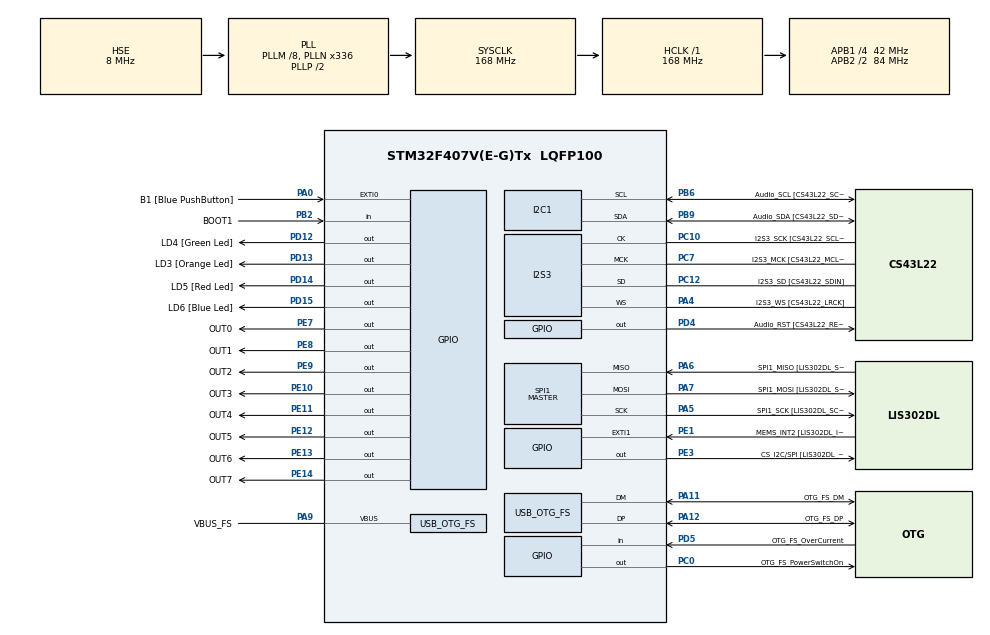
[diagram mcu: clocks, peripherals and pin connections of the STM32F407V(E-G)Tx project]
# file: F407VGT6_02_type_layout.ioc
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I2S3.AudioFreq-Half_Duplex_Master=I2S_AUDIOFREQ_96K
I2S3.ErrorAudioFreq=-2.34 %
I2S3.ErrorAudioFreq-Half_Duplex_Master=0.8 %
I2S3.FullDuplexMode=I2S_FULLDUPLEXMODE_DISABLE
I2S3.Instance=SPI$Index
I2S3.RealAudioFreq=93.75 KHz
I2S3.RealAudioFreq-Half_Duplex_Master=96.774 KHz
I2S3.VirtualMode=I2S_MODE_MASTER
Mcu.Family=STM32F4
Mcu.Name=STM32F407V(E-G)Tx
Mcu.Package=LQFP100
NVIC.OTG_FS_IRQn=true\:0\:0\:false\:false\:true\:true\:true\:true
NVIC.PriorityGroup=NVIC_PRIORITYGROUP_0
PA0-WKUP.GPIO_Label=B1 [Blue PushButton]
PA0-WKUP.GPIO_ModeDefaultEXTI=GPIO_MODE_EVT_RISING
PA0-WKUP.GPIO_PuPd=GPIO_NOPULL
PA0-WKUP.Signal=GPXTI0
PA10.GPIO_Label=OTG_FS_ID
PA10.GPIO_Mode=GPIO_MODE_AF_PP
PA10.GPIO_PuPd=GPIO_NOPULL
PA10.GPIO_Speed=GPIO_SPEED_FREQ_LOW
PA10.Signal=USB_OTG_FS_ID
PA11.GPIO_Label=OTG_FS_DM
PA11.GPIO_Mode=GPIO_MODE_AF_PP
PA11.GPIO_PuPd=GPIO_NOPULL
PA11.GPIO_Speed=GPIO_SPEED_FREQ_LOW
PA11.Mode=Host_Only
PA11.Signal=USB_OTG_FS_DM
PA12.GPIO_Label=OTG_FS_DP
PA12.GPIO_Mode=GPIO_MODE_AF_PP
PA12.GPIO_PuPd=GPIO_NOPULL
PA12.GPIO_Speed=GPIO_SPEED_FREQ_LOW
PA12.Mode=Host_Only
PA12.Signal=USB_OTG_FS_DP
PA13.GPIO_Label=SWDIO
PA13.Mode=Serial_Wire
PA13.Signal=SYS_JTMS-SWDIO
PA14.GPIO_Label=SWCLK
PA14.Mode=Serial_Wire
PA14.Signal=SYS_JTCK-SWCLK
PA4.GPIO_Label=I2S3_WS [CS43L22_LRCK]
PA4.GPIO_Mode=GPIO_MODE_AF_PP
PA4.GPIO_PuPd=GPIO_NOPULL
PA4.GPIO_Speed=GPIO_SPEED_FREQ_LOW
PA4.Mode=Half_Duplex_Master
PA4.Signal=I2S3_WS
PA5.GPIO_Label=SPI1_SCK [LIS302DL_SCL/SPC]
PA5.GPIO_Mode=GPIO_MODE_AF_PP
PA5.GPIO_PuPd=GPIO_NOPULL
PA5.GPIO_Speed=GPIO_SPEED_FREQ_LOW
PA5.Mode=Full_Duplex_Master
PA5.Signal=SPI1_SCK
PA6.GPIO_Label=SPI1_MISO [LIS302DL_SDO]
PA6.GPIO_Mode=GPIO_MODE_AF_PP
PA6.GPIO_PuPd=GPIO_NOPULL
PA6.GPIO_Speed=GPIO_SPEED_FREQ_LOW
PA6.Mode=Full_Duplex_Master
PA6.Signal=SPI1_MISO
PA7.GPIO_Label=SPI1_MOSI [LIS302DL_SDA/SDI/SDO]
PA7.GPIO_Mode=GPIO_MODE_AF_PP
PA7.GPIO_PuPd=GPIO_NOPULL
PA7.GPIO_Speed=GPIO_SPEED_FREQ_LOW
PA7.Mode=Full_Duplex_Master
PA7.Signal=SPI1_MOSI
PA9.GPIO_Label=VBUS_FS
PA9.GPIO_Mode=GPIO_MODE_INPUT
PA9.GPIO_PuPd=GPIO_NOPULL
PA9.Mode=Activate_VBUS
PA9.Signal=USB_OTG_FS_VBUS
PB10.GPIO_Label=CLK_IN [MP45DT02_CLK]
PB10.GPIO_Mode=GPIO_MODE_AF_PP
PB10.GPIO_PuPd=GPIO_NOPULL
PB10.GPIO_Speed=GPIO_SPEED_FREQ_LOW
PB10.Signal=I2S2_CK
PB2.GPIO_Label=BOOT1
PB2.GPIO_Mode=GPIO_MODE_INPUT
PB2.GPIO_PuPd=GPIO_NOPULL
PB2.Signal=GPIO_Input
PB3.GPIO_Label=SWO
PB3.Signal=SYS_JTDO-SWO
PB6.GPIO_Label=Audio_SCL [CS43L22_SCL]
PB6.GPIO_Mode=GPIO_MODE_AF_OD
PB6.GPIO_Pu=GPIO_PULLUP
PB6.GPIO_PuPd=GPIO_NOPULL
PB6.GPIO_Speed=GPIO_SPEED_FREQ_LOW
PB6.Mode=I2C
PB6.Signal=I2C1_SCL
PB9.GPIO_Label=Audio_SDA [CS43L22_SDA]
PB9.GPIO_Mode=GPIO_MODE_AF_OD
PB9.GPIO_Pu=GPIO_PULLUP
PB9.GPIO_PuPd=GPIO_NOPULL
PB9.GPIO_Speed=GPIO_SPEED_FREQ_LOW
PB9.Mode=I2C
PB9.Signal=I2C1_SDA
PC0.GPIO_Label=OTG_FS_PowerSwitchOn
PC0.GPIO_PuPd=GPIO_NOPULL
PC0.GPIO_Speed=GPIO_SPEED_FREQ_LOW
PC0.PinState=GPIO_PIN_SET
PC0.Signal=GPIO_Output
PC10.GPIO_Label=I2S3_SCK [CS43L22_SCLK]
PC10.GPIO_Mode=GPIO_MODE_AF_PP
PC10.GPIO_PuPd=GPIO_NOPULL
PC10.GPIO_Speed=GPIO_SPEED_FREQ_LOW
PC10.Mode=Half_Duplex_Master
PC10.Signal=I2S3_CK
PC12.GPIO_Label=I2S3_SD [CS43L22_SDIN]
PC12.GPIO_Mode=GPIO_MODE_AF_PP
PC12.GPIO_PuPd=GPIO_NOPULL
PC12.GPIO_Speed=GPIO_SPEED_FREQ_LOW
PC12.Mode=Half_Duplex_Master
PC12.Signal=I2S3_SD
PC14-OSC32_IN.GPIO_Label=PC14-OSC32_IN
PC14-OSC32_IN.Mode=LSE-External-Oscillator
PC14-OSC32_IN.Signal=RCC_OSC32_IN
PC15-OSC32_OUT.GPIO_Label=PC15-OSC32_OUT
PC15-OSC32_OUT.Mode=LSE-External-Oscillator
PC15-OSC32_OUT.Signal=RCC_OSC32_OUT
PC3.GPIO_Label=PDM_OUT [MP45DT02_DOUT]
PC3.GPIO_Mode=GPIO_MODE_AF_PP
PC3.GPIO_PuPd=GPIO_NOPULL
PC3.GPIO_Speed=GPIO_SPEED_FREQ_LOW
PC3.Signal=I2S2_SD
PC7.GPIO_Label=I2S3_MCK [CS43L22_MCLK]
PC7.GPIO_Mode=GPIO_MODE_AF_PP
PC7.GPIO_PuPd=GPIO_NOPULL
PC7.GPIO_Speed=GPIO_SPEED_FREQ_LOW
PC7.Mode=Master_Clock_Activated
PC7.Signal=I2S3_MCK
PD12.GPIO_Label=LD4 [Green Led]
PD12.GPIO_PuPd=GPIO_NOPULL
PD12.GPIO_Speed=GPIO_SPEED_FREQ_LOW
PD12.Signal=GPIO_Output
PD13.GPIO_Label=LD3 [Orange Led]
PD13.GPIO_PuPd=GPIO_NOPULL
PD13.GPIO_Speed=GPIO_SPEED_FREQ_LOW
PD13.Signal=GPIO_Output
PD14.GPIO_Label=LD5 [Red Led]
PD14.GPIO_PuPd=GPIO_NOPULL
PD14.GPIO_Speed=GPIO_SPEED_FREQ_LOW
PD14.Signal=GPIO_Output
PD15.GPIO_Label=LD6 [Blue Led]
PD15.GPIO_PuPd=GPIO_NOPULL
PD15.GPIO_Speed=GPIO_SPEED_FREQ_LOW
PD15.Signal=GPIO_Output
PD4.GPIO_Label=Audio_RST [CS43L22_RESET]
PD4.GPIO_PuPd=GPIO_NOPULL
PD4.GPIO_Speed=GPIO_SPEED_FREQ_LOW
PD4.Signal=GPIO_Output
PD5.GPIO_Label=OTG_FS_OverCurrent
PD5.GPIO_Mode=GPIO_MODE_INPUT
PD5.GPIO_PuPd=GPIO_NOPULL
PD5.Signal=GPIO_Input
PE1.GPIO_Label=MEMS_INT2 [LIS302DL_INT2]
PE1.GPIO_ModeDefaultEXTI=GPIO_MODE_EVT_RISING
PE1.GPIO_PuPd=GPIO_NOPULL
PE1.Signal=GPXTI1
PE10.GPIO_Label=OUT3
PE10.Signal=GPIO_Output
PE11.GPIO_Label=OUT4
PE11.Signal=GPIO_Output
PE12.GPIO_Label=OUT5
PE12.Signal=GPIO_Output
PE13.GPIO_Label=OUT6
PE13.Signal=GPIO_Output
PE14.GPIO_Label=OUT7
PE14.Signal=GPIO_Output
PE3.GPIO_Label=CS_I2C/SPI [LIS302DL_CS_I2C/SPI]
PE3.GPIO_PuPd=GPIO_NOPULL
PE3.GPIO_Speed=GPIO_SPEED_FREQ_LOW
PE3.Signal=GPIO_Output
PE7.GPIO_Label=OUT0
PE7.Signal=GPIO_Output
PE8.GPIO_Label=OUT1
PE8.Signal=GPIO_Output
PE9.GPIO_Label=OUT2
PE9.Signal=GPIO_Output
PH0-OSC_IN.GPIO_Label=PH0-OSC_IN
PH0-OSC_IN.Mode=HSE-External-Oscillator
PH0-OSC_IN.Signal=RCC_OSC_IN
PH1-OSC_OUT.GPIO_Label=PH1-OSC_OUT
PH1-OSC_OUT.Mode=HSE-External-Oscillator
PH1-OSC_OUT.Signal=RCC_OSC_OUT
ProjectManager.HeapSize=0x200
ProjectManager.StackSize=0x400
ProjectManager.TargetToolchain=STM32CubeIDE
RCC.48MHZClocksFreq_Value=48000000
RCC.AHBFreq_Value=168000000
RCC.APB1CLKDivider=RCC_HCLK_DIV4
RCC.APB1Freq_Value=42000000
RCC.APB1TimFreq_Value=84000000
RCC.APB2CLKDivider=RCC_HCLK_DIV2
RCC.APB2Freq_Value=84000000
RCC.APB2TimFreq_Value=168000000
RCC.CortexFreq_Value=168000000
RCC.HCLKFreq_Value=168000000
RCC.HSE_VALUE=8000000
RCC.HSI_VALUE=16000000
RCC.PLLM=8
RCC.PLLN=336
RCC.PLLQ=7
RCC.SYSCLKFreq_VALUE=168000000
RCC.SYSCLKSource=RCC_SYSCLKSOURCE_PLLCLK
RCC.VCOOutputFreq_Value=336000000
SPI1.BaudRatePrescaler-Full_Duplex_Master=SPI_BAUDRATEPRESCALER_2
SPI1.CalculateBaudRate-Full_Duplex_Master=42.0 MBits/s
SPI1.Direction=SPI_DIRECTION_2LINES
SPI1.Mode=SPI_MODE_MASTER
SPI1.Mode-Full_Duplex_Master=SPI_MODE_MASTER
SPI1.VirtualType=VM_MASTER
USB_HOST.BSP.number=1
USB_HOST.USBH_HandleTypeDef-CDC_FS=hUsbHostFS
USB_HOST.VirtualModeFS=Cdc
USB_HOST0.BSP.STBoard=false
USB_HOST0.BSP.api=Unknown
USB_HOST0.BSP.instance=PC0
USB_HOST0.BSP.ip=GPIO
USB_HOST0.BSP.mode=Output
USB_HOST0.BSP.name=Drive_VBUS_FS
USB_HOST0.BSP.solution=PC0
USB_OTG_FS.VirtualMode=Host_Only
USB_OTG_FS.phy_itface=HCD_PHY_EMBEDDED
VP_USB_HOST_VS_USB_HOST_CDC_FS.Mode=CDC_FS
board=STM32F407G-DISC1

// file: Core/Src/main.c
/* USER CODE BEGIN Header */
/**
  ******************************************************************************
  * @file           : main.c
  * @brief          : Main program body
  ******************************************************************************
  * @attention
  *
  * Copyright (c) 2025 STMicroelectronics.
  * All rights reserved.
  *
  * This software is licensed under terms that can be found in the LICENSE file
  * in the root directory of this software component.
  * If no LICENSE file comes with this software, it is provided AS-IS.
  *
  ******************************************************************************
  */
/* USER CODE END Header */
#include "main.h"
#include "usb_host.h"

I2C_HandleTypeDef hi2c1;

I2S_HandleTypeDef hi2s3;

SPI_HandleTypeDef hspi1;

void SystemClock_Config(void);
static void MX_GPIO_Init(void);
static void MX_I2C1_Init(void);
static void MX_I2S3_Init(void);
static void MX_SPI1_Init(void);
void MX_USB_HOST_Process(void);

/* USER CODE BEGIN PFP */

void print_number(uint8_t value);

/* USER CODE END PFP */

int main(void)
{

  /* MCU Configuration--------------------------------------------------------*/

  /* Reset of all peripherals, Initializes the Flash interface and the Systick. */
  HAL_Init();

  /* Configure the system clock */
  SystemClock_Config();

  /* Initialize all configured peripherals */
  MX_GPIO_Init();
  MX_I2C1_Init();
  MX_I2S3_Init();
  MX_SPI1_Init();
  MX_USB_HOST_Init();
  /* USER CODE BEGIN 2 */

  uint8_t result;

  result = 0b01010101;
//  result = 0b10101010;
//  result = 127;
//  result = 254;
//  result = 'h';	// a.k.a. 104

  // Implementation-specific data type, for avr-gcc is a 'long unsigned int'
//  size_t result;

  // 1 byte
//  result = sizeof(char);
//  result = sizeof(unsigned char);
//  result = sizeof(signed char);

  // 4 bytes
//  result = sizeof(int);
//  result = sizeof(unsigned int);
//  result = sizeof(signed int);

  // 4 bytes
//  result = sizeof(long int);
//  result = sizeof(long unsigned int);
//  result = sizeof(long signed int);

  // 8 bytes
//  result = sizeof(long long int);
//  result = sizeof(long long unsigned int);
//  result = sizeof(long long signed int);

  // 2 bytes
//  result = sizeof(short int);
//  result = sizeof(short unsigned int);
//  result = sizeof(short signed int);

  // 4 bytes
//  result = sizeof(float);

  // 8 bytes
//  result = sizeof(double);
//  result = sizeof(long double);

  // 1 byte
//  result = sizeof(void);

  // 4 bytes
//  result = sizeof(char *);
//  result = sizeof(int *);
//  result = sizeof(long *);
//  result = sizeof(long long *);
//  result = sizeof(float *);
//  result = sizeof(double *);
//  result = sizeof(void *);
//  result = sizeof(GPIO_TypeDef*);

  // 1 byte
//  result = sizeof(uint8_t);
//  result = sizeof(int8_t);

  // 2 bytes
//  result = sizeof(uint16_t);
//  result = sizeof(int16_t);

  // 4 bytes
//  result = sizeof(uint32_t);
//  result = sizeof(int32_t);

  // 8 bytes
//  result = sizeof(uint64_t);
//  result = sizeof(int64_t);

  // 4 bytes
//  enum EState{STATE1, STATE2, STATE3};
//  result = sizeof(STATE1);

  // 40 bytes
//  result = sizeof(GPIO_TypeDef);

//  result = sizeof(0xFF);                  // 4 bytes
//  result = sizeof(0xffFF);                // 4 bytes
//  result = sizeof(0xFFffFF);              // 4 bytes
//  result = sizeof(0xFFffFFffFFffFF);      // 8 bytes
//  result = sizeof(0xAAbbCCeeDDffAAbbCC);  // 8 bytes (WARNING)

  print_number(result);

  /* USER CODE END 2 */

  /* Infinite loop */
  while (1)
  {
    MX_USB_HOST_Process();

  }
}

void SystemClock_Config(void)
{
  RCC_OscInitTypeDef RCC_OscInitStruct = {0};
  RCC_ClkInitTypeDef RCC_ClkInitStruct = {0};

  /** Configure the main internal regulator output voltage
  */
  __HAL_RCC_PWR_CLK_ENABLE();
  __HAL_PWR_VOLTAGESCALING_CONFIG(PWR_REGULATOR_VOLTAGE_SCALE1);

  /** Initializes the RCC Oscillators according to the specified parameters
  * in the RCC_OscInitTypeDef structure.
  */
  RCC_OscInitStruct.OscillatorType = RCC_OSCILLATORTYPE_HSE;
  RCC_OscInitStruct.HSEState = RCC_HSE_ON;
  RCC_OscInitStruct.PLL.PLLState = RCC_PLL_ON;
  RCC_OscInitStruct.PLL.PLLSource = RCC_PLLSOURCE_HSE;
  RCC_OscInitStruct.PLL.PLLM = 8;
  RCC_OscInitStruct.PLL.PLLN = 336;
  RCC_OscInitStruct.PLL.PLLP = RCC_PLLP_DIV2;
  RCC_OscInitStruct.PLL.PLLQ = 7;
  if (HAL_RCC_OscConfig(&RCC_OscInitStruct) != HAL_OK)
  {
    Error_Handler();
  }

  /** Initializes the CPU, AHB and APB buses clocks
  */
  RCC_ClkInitStruct.ClockType = RCC_CLOCKTYPE_HCLK|RCC_CLOCKTYPE_SYSCLK
                              |RCC_CLOCKTYPE_PCLK1|RCC_CLOCKTYPE_PCLK2;
  RCC_ClkInitStruct.SYSCLKSource = RCC_SYSCLKSOURCE_PLLCLK;
  RCC_ClkInitStruct.AHBCLKDivider = RCC_SYSCLK_DIV1;
  RCC_ClkInitStruct.APB1CLKDivider = RCC_HCLK_DIV4;
  RCC_ClkInitStruct.APB2CLKDivider = RCC_HCLK_DIV2;

  if (HAL_RCC_ClockConfig(&RCC_ClkInitStruct, FLASH_LATENCY_5) != HAL_OK)
  {
    Error_Handler();
  }
}

static void MX_I2C1_Init(void)
{

  hi2c1.Instance = I2C1;
  hi2c1.Init.ClockSpeed = 100000;
  hi2c1.Init.DutyCycle = I2C_DUTYCYCLE_2;
  hi2c1.Init.OwnAddress1 = 0;
  hi2c1.Init.AddressingMode = I2C_ADDRESSINGMODE_7BIT;
  hi2c1.Init.DualAddressMode = I2C_DUALADDRESS_DISABLE;
  hi2c1.Init.OwnAddress2 = 0;
  hi2c1.Init.GeneralCallMode = I2C_GENERALCALL_DISABLE;
  hi2c1.Init.NoStretchMode = I2C_NOSTRETCH_DISABLE;
  if (HAL_I2C_Init(&hi2c1) != HAL_OK)
  {
    Error_Handler();
  }

}

static void MX_I2S3_Init(void)
{

  hi2s3.Instance = SPI3;
  hi2s3.Init.Mode = I2S_MODE_MASTER_TX;
  hi2s3.Init.Standard = I2S_STANDARD_PHILIPS;
  hi2s3.Init.DataFormat = I2S_DATAFORMAT_16B;
  hi2s3.Init.MCLKOutput = I2S_MCLKOUTPUT_ENABLE;
  hi2s3.Init.AudioFreq = I2S_AUDIOFREQ_96K;
  hi2s3.Init.CPOL = I2S_CPOL_LOW;
  hi2s3.Init.ClockSource = I2S_CLOCK_PLL;
  hi2s3.Init.FullDuplexMode = I2S_FULLDUPLEXMODE_DISABLE;
  if (HAL_I2S_Init(&hi2s3) != HAL_OK)
  {
    Error_Handler();
  }

}

static void MX_SPI1_Init(void)
{

  /* SPI1 parameter configuration*/
  hspi1.Instance = SPI1;
  hspi1.Init.Mode = SPI_MODE_MASTER;
  hspi1.Init.Direction = SPI_DIRECTION_2LINES;
  hspi1.Init.DataSize = SPI_DATASIZE_8BIT;
  hspi1.Init.CLKPolarity = SPI_POLARITY_LOW;
  hspi1.Init.CLKPhase = SPI_PHASE_1EDGE;
  hspi1.Init.NSS = SPI_NSS_SOFT;
  hspi1.Init.BaudRatePrescaler = SPI_BAUDRATEPRESCALER_2;
  hspi1.Init.FirstBit = SPI_FIRSTBIT_MSB;
  hspi1.Init.TIMode = SPI_TIMODE_DISABLE;
  hspi1.Init.CRCCalculation = SPI_CRCCALCULATION_DISABLE;
  hspi1.Init.CRCPolynomial = 10;
  if (HAL_SPI_Init(&hspi1) != HAL_OK)
  {
    Error_Handler();
  }

}

static void MX_GPIO_Init(void)
{
  GPIO_InitTypeDef GPIO_InitStruct = {0};

  /* GPIO Ports Clock Enable */
  __HAL_RCC_GPIOE_CLK_ENABLE();
  __HAL_RCC_GPIOC_CLK_ENABLE();
  __HAL_RCC_GPIOH_CLK_ENABLE();
  __HAL_RCC_GPIOA_CLK_ENABLE();
  __HAL_RCC_GPIOB_CLK_ENABLE();
  __HAL_RCC_GPIOD_CLK_ENABLE();

  /*Configure GPIO pin Output Level */
  HAL_GPIO_WritePin(GPIOE, CS_I2C_SPI_Pin|OUT0_Pin|OUT1_Pin|OUT2_Pin
                          |OUT3_Pin|OUT4_Pin|OUT5_Pin|OUT6_Pin
                          |OUT7_Pin, GPIO_PIN_RESET);

  /*Configure GPIO pin Output Level */
  HAL_GPIO_WritePin(OTG_FS_PowerSwitchOn_GPIO_Port, OTG_FS_PowerSwitchOn_Pin, GPIO_PIN_SET);

  /*Configure GPIO pin Output Level */
  HAL_GPIO_WritePin(GPIOD, LD4_Pin|LD3_Pin|LD5_Pin|LD6_Pin
                          |Audio_RST_Pin, GPIO_PIN_RESET);

  /*Configure GPIO pins : CS_I2C_SPI_Pin OUT0_Pin OUT1_Pin OUT2_Pin
                           OUT3_Pin OUT4_Pin OUT5_Pin OUT6_Pin
                           OUT7_Pin */
  GPIO_InitStruct.Pin = CS_I2C_SPI_Pin|OUT0_Pin|OUT1_Pin|OUT2_Pin
                          |OUT3_Pin|OUT4_Pin|OUT5_Pin|OUT6_Pin
                          |OUT7_Pin;
  GPIO_InitStruct.Mode = GPIO_MODE_OUTPUT_PP;
  GPIO_InitStruct.Pull = GPIO_NOPULL;
  GPIO_InitStruct.Speed = GPIO_SPEED_FREQ_LOW;
  HAL_GPIO_Init(GPIOE, &GPIO_InitStruct);

  /*Configure GPIO pin : OTG_FS_PowerSwitchOn_Pin */
  GPIO_InitStruct.Pin = OTG_FS_PowerSwitchOn_Pin;
  GPIO_InitStruct.Mode = GPIO_MODE_OUTPUT_PP;
  GPIO_InitStruct.Pull = GPIO_NOPULL;
  GPIO_InitStruct.Speed = GPIO_SPEED_FREQ_LOW;
  HAL_GPIO_Init(OTG_FS_PowerSwitchOn_GPIO_Port, &GPIO_InitStruct);

  /*Configure GPIO pin : PDM_OUT_Pin */
  GPIO_InitStruct.Pin = PDM_OUT_Pin;
  GPIO_InitStruct.Mode = GPIO_MODE_AF_PP;
  GPIO_InitStruct.Pull = GPIO_NOPULL;
  GPIO_InitStruct.Speed = GPIO_SPEED_FREQ_LOW;
  GPIO_InitStruct.Alternate = GPIO_AF5_SPI2;
  HAL_GPIO_Init(PDM_OUT_GPIO_Port, &GPIO_InitStruct);

  /*Configure GPIO pin : B1_Pin */
  GPIO_InitStruct.Pin = B1_Pin;
  GPIO_InitStruct.Mode = GPIO_MODE_EVT_RISING;
  GPIO_InitStruct.Pull = GPIO_NOPULL;
  HAL_GPIO_Init(B1_GPIO_Port, &GPIO_InitStruct);

  /*Configure GPIO pin : BOOT1_Pin */
  GPIO_InitStruct.Pin = BOOT1_Pin;
  GPIO_InitStruct.Mode = GPIO_MODE_INPUT;
  GPIO_InitStruct.Pull = GPIO_NOPULL;
  HAL_GPIO_Init(BOOT1_GPIO_Port, &GPIO_InitStruct);

  /*Configure GPIO pin : CLK_IN_Pin */
  GPIO_InitStruct.Pin = CLK_IN_Pin;
  GPIO_InitStruct.Mode = GPIO_MODE_AF_PP;
  GPIO_InitStruct.Pull = GPIO_NOPULL;
  GPIO_InitStruct.Speed = GPIO_SPEED_FREQ_LOW;
  GPIO_InitStruct.Alternate = GPIO_AF5_SPI2;
  HAL_GPIO_Init(CLK_IN_GPIO_Port, &GPIO_InitStruct);

  /*Configure GPIO pins : LD4_Pin LD3_Pin LD5_Pin LD6_Pin
                           Audio_RST_Pin */
  GPIO_InitStruct.Pin = LD4_Pin|LD3_Pin|LD5_Pin|LD6_Pin
                          |Audio_RST_Pin;
  GPIO_InitStruct.Mode = GPIO_MODE_OUTPUT_PP;
  GPIO_InitStruct.Pull = GPIO_NOPULL;
  GPIO_InitStruct.Speed = GPIO_SPEED_FREQ_LOW;
  HAL_GPIO_Init(GPIOD, &GPIO_InitStruct);

  /*Configure GPIO pin : OTG_FS_OverCurrent_Pin */
  GPIO_InitStruct.Pin = OTG_FS_OverCurrent_Pin;
  GPIO_InitStruct.Mode = GPIO_MODE_INPUT;
  GPIO_InitStruct.Pull = GPIO_NOPULL;
  HAL_GPIO_Init(OTG_FS_OverCurrent_GPIO_Port, &GPIO_InitStruct);

  /*Configure GPIO pin : MEMS_INT2_Pin */
  GPIO_InitStruct.Pin = MEMS_INT2_Pin;
  GPIO_InitStruct.Mode = GPIO_MODE_EVT_RISING;
  GPIO_InitStruct.Pull = GPIO_NOPULL;
  HAL_GPIO_Init(MEMS_INT2_GPIO_Port, &GPIO_InitStruct);

}

/* USER CODE BEGIN 4 */

void print_number(uint8_t value)
{
	HAL_GPIO_WritePin(OUT0_GPIO_Port, OUT0_Pin, RESET);
	HAL_GPIO_WritePin(OUT1_GPIO_Port, OUT1_Pin, RESET);
	HAL_GPIO_WritePin(OUT2_GPIO_Port, OUT2_Pin, RESET);
	HAL_GPIO_WritePin(OUT3_GPIO_Port, OUT3_Pin, RESET);
	HAL_GPIO_WritePin(OUT4_GPIO_Port, OUT4_Pin, RESET);
	HAL_GPIO_WritePin(OUT5_GPIO_Port, OUT5_Pin, RESET);
	HAL_GPIO_WritePin(OUT6_GPIO_Port, OUT6_Pin, RESET);
	HAL_GPIO_WritePin(OUT7_GPIO_Port, OUT7_Pin, RESET);

	if (value & (1 << 0)) HAL_GPIO_WritePin(OUT0_GPIO_Port, OUT0_Pin, SET);
	if (value & (1 << 1)) HAL_GPIO_WritePin(OUT1_GPIO_Port, OUT1_Pin, SET);
	if (value & (1 << 2)) HAL_GPIO_WritePin(OUT2_GPIO_Port, OUT2_Pin, SET);
	if (value & (1 << 3)) HAL_GPIO_WritePin(OUT3_GPIO_Port, OUT3_Pin, SET);
	if (value & (1 << 4)) HAL_GPIO_WritePin(OUT4_GPIO_Port, OUT4_Pin, SET);
	if (value & (1 << 5)) HAL_GPIO_WritePin(OUT5_GPIO_Port, OUT5_Pin, SET);
	if (value & (1 << 6)) HAL_GPIO_WritePin(OUT6_GPIO_Port, OUT6_Pin, SET);
	if (value & (1 << 7)) HAL_GPIO_WritePin(OUT7_GPIO_Port, OUT7_Pin, SET);
}

/* USER CODE END 4 */

void Error_Handler(void)
{
  __disable_irq();
  while (1)
  {
  }
}
